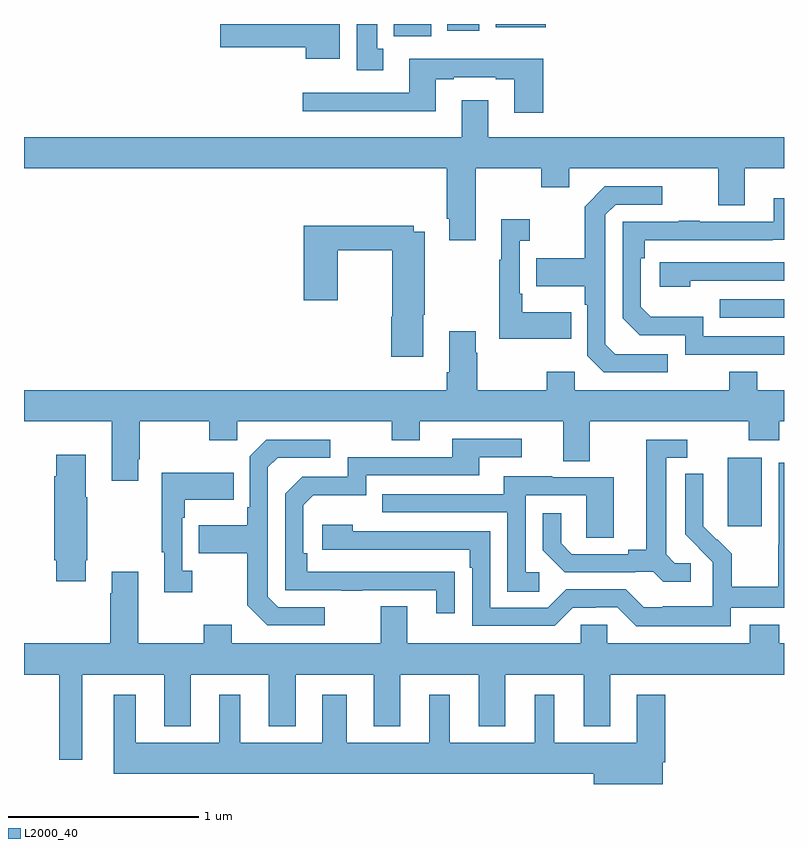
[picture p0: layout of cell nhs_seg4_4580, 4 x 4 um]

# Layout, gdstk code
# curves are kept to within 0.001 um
import gdstk
lib = gdstk.Library(unit=1e-6, precision=1e-09)
def R(c, l, rs):  # rectangles x0, y0, x1, y1
    for r in rs: c.add(gdstk.rectangle(r[:2], r[2:], *l))
def P(c, l, *ps):  # polygons
    for p in ps: c.add(gdstk.Polygon(p, *l))
L2000_40 = (2000, 40)

nhs_seg4_4580 = lib.new_cell('nhs_seg4_4580')
R(nhs_seg4_4580, L2000_40, [(360.704,808.257,360.883,808.618), (360.661,809.355,361,809.451), (358.946,810.836,359.143,810.9), (359.228,810.864,359.395,810.9), (359.483,810.884,359.747,810.9)])
P(nhs_seg4_4580, L2000_40, [(358.663,810.9),(358.032,810.9),(358.032,810.778),(358.484,810.778),(358.484,810.716),(358.663,810.716)],
  [(358.891,810.77),(358.858,810.77),(358.858,810.9),(358.751,810.9),(358.751,810.657),(358.891,810.657)],
  [(359.732,810.718),(359.027,810.718),(359.027,810.537),(358.467,810.537),(358.467,810.44),(359.167,810.44),(359.167,810.609),(359.263,810.609),(359.263,810.621),(359.483,810.621),(359.483,810.609),(359.579,810.609),(359.579,810.432),(359.732,810.432)],
  [(359.377,810.14),(359.722,810.14),(359.722,810.041),(359.869,810.041),(359.869,810.14),(360.653,810.14),(360.653,809.946),(360.793,809.946),(360.793,810.14),(361,810.14),(361,810.304),(359.443,810.304),(359.443,810.499),(359.303,810.499),(359.303,810.304),(357,810.304),(357,810.14),(359.225,810.14),(359.225,809.875),(359.237,809.875),(359.237,809.763),(359.377,809.763)],
  [(360.388,809.163),(360.111,809.163),(360.06,809.214),(360.06,809.895),(360.114,809.949),(360.358,809.949),(360.358,810.045),(360.057,810.045),(359.952,809.939),(359.952,809.667),(359.695,809.667),(359.695,809.519),(359.952,809.519),(359.952,809.423),(359.964,809.423),(359.964,809.154),(360.051,809.067),(360.388,809.067)],
  [(361,809.256),(360.576,809.256),(360.576,809.359),(360.299,809.359),(360.246,809.412),(360.246,809.666),(360.266,809.666),(360.266,809.763),(361,809.764),(361,809.983),(360.947,809.983),(360.947,809.859),(360.557,809.859),(360.557,809.864),(360.445,809.864),(360.445,809.859),(360.15,809.859),(360.15,809.352),(360.24,809.262),(360.48,809.262),(360.48,809.16),(361,809.16)],
  [(359.879,809.383),(359.623,809.383),(359.623,809.479),(359.61,809.479),(359.61,809.759),(359.662,809.759),(359.662,809.872),(359.513,809.872),(359.513,809.659),(359.502,809.659),(359.502,809.243),(359.879,809.243)],
  [(359.101,809.371),(359.109,809.371),(359.109,809.806),(359.052,809.806),(359.052,809.839),(358.472,809.839),(358.472,809.445),(358.65,809.445),(358.65,809.71),(358.939,809.71),(358.939,809.36),(358.934,809.36),(358.934,809.148),(359.101,809.148)],
  [(360.506,809.55),(361,809.55),(361,809.646),(360.345,809.646),(360.345,809.516),(360.506,809.516)],
  [(357,808.808),(357.461,808.808),(357.461,808.497),(357.601,808.497),(357.601,808.609),(357.609,808.609),(357.609,808.808),(357.976,808.808),(357.976,808.709),(358.122,808.709),(358.122,808.808),(358.936,808.808),(358.936,808.709),(359.083,808.709),(359.083,808.808),(359.837,808.808),(359.837,808.6),(359.977,808.6),(359.977,808.808),(360.814,808.808),(360.814,808.709),(360.974,808.709),(360.974,808.808),(361,808.808),(361,808.972),(360.859,808.972),(360.859,809.071),(360.712,809.071),(360.712,808.972),(359.898,808.972),(359.898,809.071),(359.752,809.071),(359.752,808.972),(359.385,808.972),(359.385,809.171),(359.377,809.171),(359.377,809.284),(359.237,809.284),(359.237,809.068),(359.225,809.068),(359.225,808.972),(357,808.972)],
  [(359.267,808.016),(358.49,808.017),(358.49,808.114),(358.47,808.114),(358.47,808.368),(358.523,808.421),(358.8,808.421),(358.8,808.524),(359.395,808.524),(359.395,808.62),(359.62,808.62),(359.62,808.716),(359.255,808.716),(359.255,808.62),(358.704,808.62),(358.704,808.518),(358.464,808.518),(358.374,808.428),(358.374,807.921),(358.669,807.921),(358.669,807.916),(358.781,807.916),(358.781,807.921),(359.171,807.921),(359.171,807.798),(359.267,807.798)],
  [(358.582,807.831),(358.338,807.831),(358.284,807.885),(358.284,808.566),(358.335,808.617),(358.612,808.617),(358.612,808.713),(358.275,808.713),(358.188,808.626),(358.188,808.357),(358.176,808.357),(358.176,808.261),(357.919,808.261),(357.919,808.114),(358.176,808.114),(358.176,807.841),(358.281,807.735),(358.582,807.735)],
  [(360.508,808.062),(360.426,808.062),(360.379,808.109),(360.379,808.617),(360.49,808.617),(360.49,808.713),(360.275,808.713),(360.275,808.133),(360.179,808.133),(360.179,808.11),(359.884,808.11),(359.827,808.167),(359.827,808.324),(359.73,808.324),(359.73,808.13),(359.846,808.014),(360.218,808.014),(360.218,808.017),(360.312,808.017),(360.364,807.965),(360.508,807.965)],
  [(357.325,808.078),(357.333,808.078),(357.333,808.409),(357.325,808.409),(357.325,808.633),(357.17,808.633),(357.17,808.52),(357.158,808.52),(357.158,808.078),(357.17,808.078),(357.17,807.966),(357.325,807.966)],
  [(360.72,807.828),(361,807.828),(361,808.59),(360.972,808.59),(360.972,808.16),(360.97,808.16),(360.97,807.937),(360.725,807.937),(360.725,808.111),(360.648,808.188),(360.645,808.185),(360.575,808.256),(360.576,808.532),(360.48,808.532),(360.48,808.214),(360.626,808.066),(360.626,807.969),(360.624,807.969),(360.624,807.835),(360.361,807.835),(360.361,807.831),(360.261,807.831),(360.168,807.924),(359.853,807.924),(359.757,807.828),(359.454,807.828),(359.454,808.23),(358.73,808.23),(358.73,808.264),(358.569,808.264),(358.569,808.134),(359.345,808.134),(359.345,808.037),(359.358,808.037),(359.358,807.732),(359.793,807.732),(359.889,807.828),(360.008,807.828),(360.008,807.831),(360.123,807.831),(360.223,807.731),(360.72,807.731)],
  [(357.886,808.022),(357.834,808.022),(357.834,808.301),(357.847,808.301),(357.847,808.397),(358.103,808.397),(358.103,808.537),(357.726,808.537),(357.726,808.121),(357.737,808.121),(357.737,807.909),(357.886,807.909)],
  [(359.713,808.014),(359.64,808.014),(359.64,808.419),(359.958,808.419),(359.958,808.195),(360.103,808.195),(360.103,808.515),(359.779,808.515),(359.779,808.519),(359.525,808.519),(359.525,808.425),(358.885,808.425),(358.885,808.329),(359.544,808.329),(359.544,807.913),(359.713,807.913)],
  [(357.307,807.476),(357.737,807.476),(357.737,807.203),(357.877,807.203),(357.877,807.476),(358.289,807.476),(358.289,807.203),(358.429,807.203),(358.429,807.476),(358.841,807.476),(358.841,807.203),(358.981,807.203),(358.981,807.476),(359.393,807.476),(359.393,807.203),(359.533,807.203),(359.533,807.476),(359.945,807.476),(359.945,807.203),(360.085,807.203),(360.085,807.476),(361,807.476),(361,807.64),(360.974,807.64),(360.974,807.739),(360.821,807.739),(360.821,807.64),(360.069,807.64),(360.069,807.738),(359.931,807.738),(359.931,807.64),(359.017,807.64),(359.017,807.835),(358.877,807.835),(358.877,807.64),(358.093,807.64),(358.093,807.739),(357.946,807.739),(357.946,807.64),(357.601,807.64),(357.601,808.018),(357.461,808.018),(357.461,807.905),(357.454,807.905),(357.454,807.64),(357,807.64),(357,807.476),(357.186,807.476),(357.186,807.027),(357.307,807.027)],
  [(360.361,807.014),(360.374,807.014),(360.374,807.37),(360.224,807.37),(360.224,807.118),(359.791,807.118),(359.791,807.37),(359.687,807.37),(359.687,807.118),(359.242,807.118),(359.242,807.37),(359.132,807.37),(359.132,807.118),(358.699,807.118),(358.699,807.37),(358.571,807.37),(358.571,807.118),(358.138,807.118),(358.138,807.37),(358.028,807.37),(358.028,807.118),(357.589,807.118),(357.589,807.37),(357.473,807.37),(357.473,806.954),(359.999,806.954),(359.999,806.9),(360.361,806.9)])

lib.write_gds('nhs_seg4_4580.gds')
